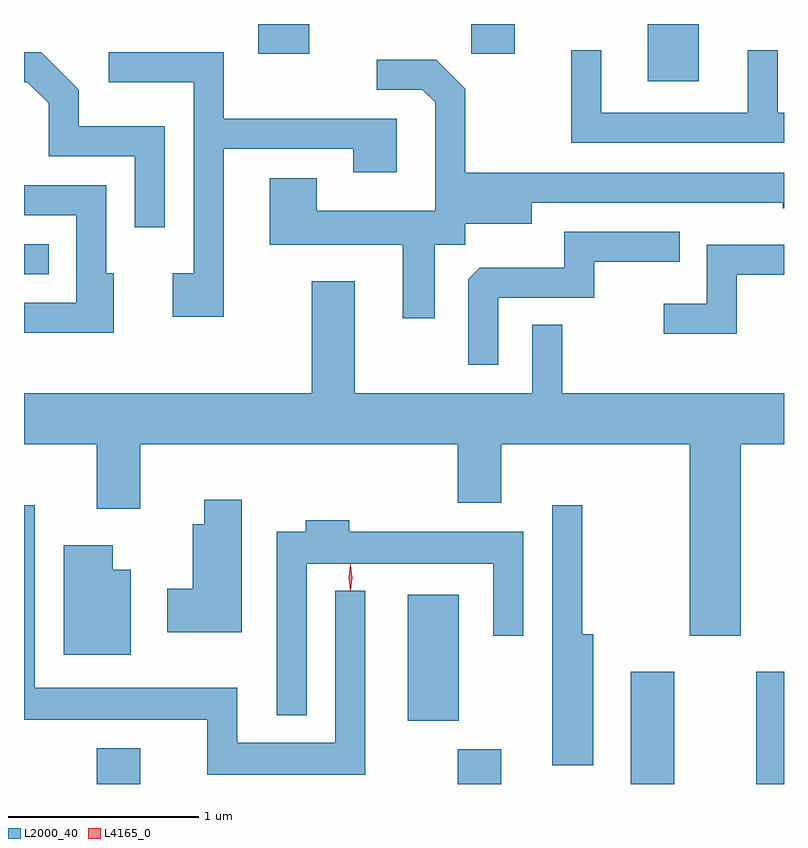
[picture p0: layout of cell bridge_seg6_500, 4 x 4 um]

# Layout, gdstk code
import gdstk
lib = gdstk.Library(unit=1e-6, precision=1e-09)
def R(c, l, rs):  # rectangles x0, y0, x1, y1
    for r in rs: c.add(gdstk.rectangle(r[:2], r[2:], *l))
def P(c, l, *ps):  # polygons
    for p in ps: c.add(gdstk.Polygon(p, *l))
L2000_40 = (2000, 40)
L4165_0 = (4165, 0)

bridge_seg6_500 = lib.new_cell('bridge_seg6_500')
R(bridge_seg6_500, L2000_40, [(510.731,1652.587,510.959,1652.774), (512.631,1652.587,512.859,1652.769), (513.541,1652.587,513.769,1653.179), (514.201,1652.587,514.347,1653.179), (512.366,1652.921,512.634,1653.584), (510.347,1655.271,510.478,1655.429), (513.631,1656.286,513.899,1656.587), (511.581,1656.431,511.849,1656.587), (512.701,1656.431,512.929,1656.587)])
P(bridge_seg6_500, L2000_40, [(514.347,1656.119),(514.314,1656.119),(514.314,1656.448),(514.156,1656.448),(514.156,1656.119),(513.384,1656.119),(513.384,1656.448),(513.226,1656.448),(513.226,1655.961),(514.347,1655.961)],
  [(511.399,1655.931),(512.081,1655.931),(512.081,1655.806),(512.309,1655.806),(512.309,1656.089),(511.399,1656.089),(511.399,1656.439),(510.793,1656.439),(510.793,1656.281),(511.241,1656.281),(511.241,1655.274),(511.131,1655.274),(511.131,1655.046),(511.399,1655.046)],
  [(511.089,1656.049),(510.634,1656.049),(510.634,1656.242),(510.437,1656.439),(510.347,1656.439),(510.347,1656.281),(510.364,1656.281),(510.476,1656.169),(510.476,1655.891),(510.931,1655.891),(510.931,1655.518),(511.089,1655.518)],
  [(512.509,1655.426),(512.669,1655.426),(512.669,1655.536),(513.019,1655.536),(513.019,1655.646),(514.341,1655.646),(514.341,1655.616),(514.347,1655.616),(514.347,1655.804),(512.669,1655.804),(512.669,1656.247),(512.517,1656.399),(512.203,1656.399),(512.203,1656.241),(512.444,1656.241),(512.511,1656.174),(512.511,1655.604),(511.889,1655.604),(511.889,1655.774),(511.641,1655.774),(511.641,1655.426),(512.341,1655.426),(512.341,1655.038),(512.509,1655.038)],
  [(510.819,1655.274),(510.779,1655.274),(510.779,1655.739),(510.347,1655.739),(510.347,1655.581),(510.621,1655.581),(510.621,1655.119),(510.347,1655.119),(510.347,1654.961),(510.819,1654.961)],
  [(512.844,1655.146),(513.349,1655.146),(513.349,1655.336),(513.798,1655.336),(513.798,1655.494),(513.191,1655.494),(513.191,1655.304),(512.746,1655.304),(512.686,1655.244),(512.686,1654.793),(512.844,1654.793)],
  [(514.099,1655.266),(514.347,1655.266),(514.347,1655.424),(513.941,1655.424),(513.941,1655.114),(513.713,1655.114),(513.713,1654.956),(514.099,1654.956)],
  [(514.119,1654.376),(514.347,1654.376),(514.347,1654.644),(513.179,1654.644),(513.179,1655.003),(513.021,1655.003),(513.021,1654.644),(512.089,1654.644),(512.089,1655.234),(511.861,1655.234),(511.861,1654.644),(510.347,1654.644),(510.347,1654.376),(510.731,1654.376),(510.731,1654.036),(510.959,1654.036),(510.959,1654.376),(512.631,1654.376),(512.631,1654.066),(512.859,1654.066),(512.859,1654.376),(513.851,1654.376),(513.851,1653.366),(514.119,1653.366)],
  [(511.494,1654.084),(511.296,1654.084),(511.296,1653.954),(511.236,1653.954),(511.236,1653.614),(511.101,1653.614),(511.101,1653.386),(511.494,1653.386)],
  [(513.344,1653.374),(513.284,1653.374),(513.284,1654.053),(513.126,1654.053),(513.126,1652.686),(513.344,1652.686)],
  [(512.144,1653.603),(511.986,1653.603),(511.986,1652.804),(511.469,1652.804),(511.469,1653.094),(510.404,1653.094),(510.404,1654.053),(510.347,1654.053),(510.347,1652.926),(511.311,1652.926),(511.311,1652.636),(512.144,1652.636)],
  [(511.834,1653.746),(512.816,1653.746),(512.816,1653.368),(512.974,1653.368),(512.974,1653.914),(512.059,1653.914),(512.059,1653.974),(511.831,1653.974),(511.831,1653.914),(511.676,1653.914),(511.676,1652.948),(511.834,1652.948)],
  [(510.909,1653.714),(510.814,1653.714),(510.814,1653.844),(510.556,1653.844),(510.556,1653.266),(510.909,1653.266)])
P(bridge_seg6_500, L4165_0, [(512.065,1653.607),(512.064,1653.608),(512.055,1653.674),(512.064,1653.74),(512.065,1653.741),(512.065,1653.74),(512.075,1653.674),(512.065,1653.608)],
  [(512.064,1653.604),(512.055,1653.673),(512.064,1653.742),(512.065,1653.743),(512.066,1653.742),(512.075,1653.673),(512.066,1653.604),(512.065,1653.604)])

lib.write_gds('bridge_seg6_500.gds')
